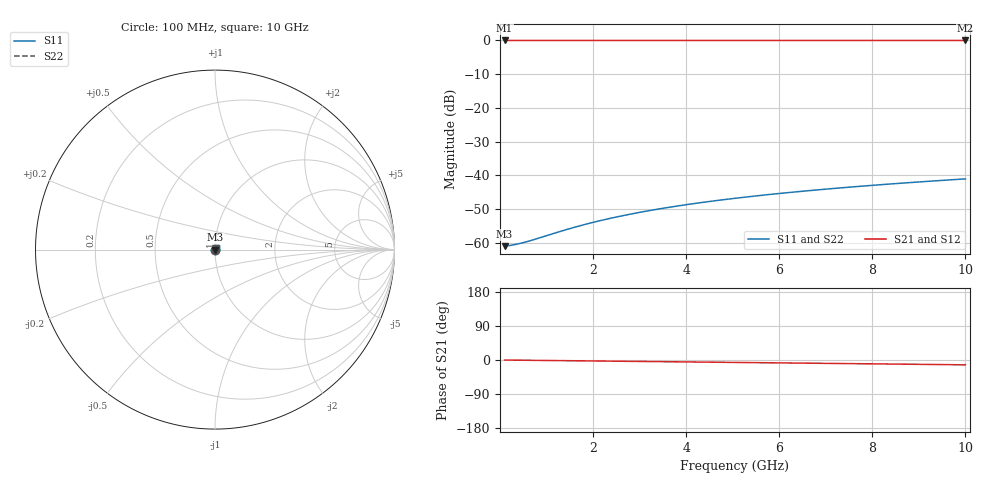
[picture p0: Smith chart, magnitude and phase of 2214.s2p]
# Hz S RI R 50.00
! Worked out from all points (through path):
!   100 points, 100 MHz to 10 GHz, reference 50 ohm
!   highest |S21| = -0.01 dB at 100 MHz (marker M1); lowest = 0.0 dB at 10 GHz (marker M2)
!   group delay of S21, straight-line fit = 3.53 ps
!   lowest |S11| = -60.9 dB at 100 MHz (marker M3), VSWR 1.00, Z = 50.1 + j0.00885 ohm
!   |S11| at or under -10 dB: start of sweep to end of sweep
!   |S22| runs from -60.9 to -41.0 dB; largest |S21 - S12| = 0
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1e8  0.000894 8.84e-05  0.9991 -0.0022  0.9991 -0.0022  0.000894 8.84e-05
2e8  0.000899 0.000177  0.9991 -0.00441  0.9991 -0.00441  0.000899 0.000177
3e8  0.000904 0.000265  0.9991 -0.00661  0.9991 -0.00661  0.000904 0.000265
4e8  0.000908 0.000353  0.999 -0.00881  0.999 -0.00881  0.000908 0.000353
5e8  0.000911 0.000441  0.999 -0.011  0.999 -0.011  0.000911 0.000441
7e8  0.000919 0.000618  0.999 -0.0154  0.999 -0.0154  0.000919 0.000618
1.4e9  0.000955 0.00123  0.9986 -0.0309  0.9986 -0.0309  0.000955 0.00123
1.8e9  0.000982 0.00158  0.9983 -0.0397  0.9983 -0.0397  0.000982 0.00158
2.2e9  0.00101 0.00193  0.9979 -0.0485  0.9979 -0.0485  0.00101 0.00193
2.6e9  0.00105 0.00228  0.9974 -0.0573  0.9974 -0.0573  0.00105 0.00228
3e9  0.0011 0.00262  0.9968 -0.0661  0.9968 -0.0661  0.0011 0.00262
3.4e9  0.00115 0.00297  0.9962 -0.0749  0.9962 -0.0749  0.00115 0.00297
3.8e9  0.0012 0.00331  0.9955 -0.0838  0.9955 -0.0838  0.0012 0.00331
4.2e9  0.00127 0.00365  0.9947 -0.0926  0.9947 -0.0926  0.00127 0.00365
4.6e9  0.00133 0.00399  0.9938 -0.1014  0.9938 -0.1014  0.00133 0.00399
5.1e9  0.00143 0.00441  0.9926 -0.1124  0.9926 -0.1124  0.00143 0.00441
5.9e9  0.0016 0.00508  0.9904 -0.13  0.9904 -0.13  0.0016 0.00508
6.7e9  0.00179 0.00574  0.988 -0.1476  0.988 -0.1476  0.00179 0.00574
7.5e9  0.00201 0.0064  0.9851 -0.1652  0.9851 -0.1652  0.00201 0.0064
8.4e9  0.00228 0.00714  0.9816 -0.185  0.9816 -0.185  0.00228 0.00714
9.2e9  0.00255 0.00779  0.9781 -0.2025  0.9781 -0.2025  0.00255 0.00779
1e10  0.00285 0.00844  0.9743 -0.22  0.9743 -0.22  0.00285 0.00844
